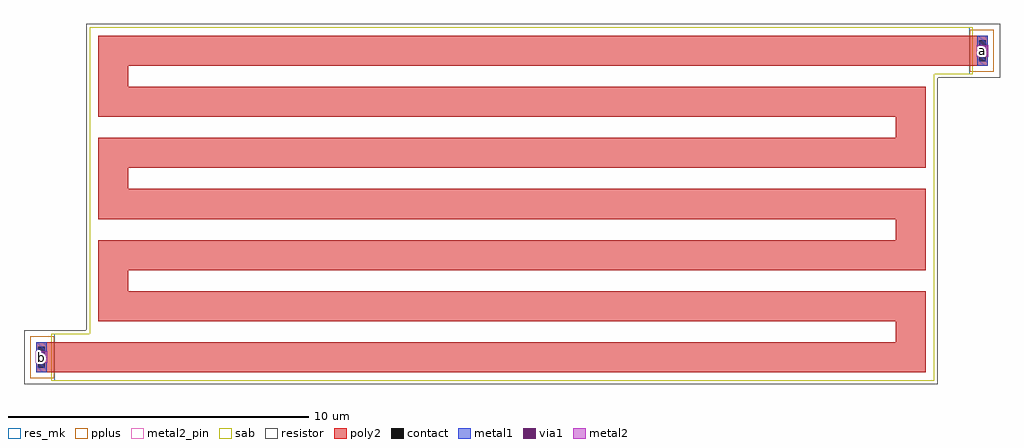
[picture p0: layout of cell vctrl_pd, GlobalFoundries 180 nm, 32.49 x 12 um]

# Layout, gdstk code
import gdstk
lib = gdstk.Library(unit=1e-6, precision=1e-09)
def R(c, l, rs):  # rectangles x0, y0, x1, y1
    for r in rs: c.add(gdstk.rectangle(r[:2], r[2:], *l))
def A(c, l, x, y, w, h, nx, ny, dx, dy):  # array of equal rectangles
    R(c, l, [(x+i*dx, y+j*dy, x+i*dx+w, y+j*dy+h) for i in range(nx) for j in range(ny)])
poly2 = (30, 0)
pplus = (31, 0)
contact = (33, 0)
metal1 = (34, 0)
via1 = (35, 0)
metal2 = (36, 0)
metal2_pin = (36, 10)
sab = (49, 0)
resistor = (62, 0)
res_mk = (110, 5)

vctrl_pd = lib.new_cell('vctrl_pd')
A(vctrl_pd, poly2, 29.015, 1.6, 1, 0.7, 1, 3, 0, 3.4)
A(vctrl_pd, poly2, 2.475, 2.3, 27.54, 1, 1, 5, 0, 1.7)
A(vctrl_pd, poly2, 2.475, 3.3, 1, 0.7, 1, 3, 0, 3.4)
R(vctrl_pd, poly2, [(0.4,0.6,30.015,1.6), (2.475,10.8,32.09,11.8)])
R(vctrl_pd, pplus, [(0.2,0.4,1.01,1.8), (31.48,10.6,32.29,12)])
R(vctrl_pd, contact, [(0.47,0.755,0.69,0.975), (0.47,1.225,0.69,1.445), (31.8,10.955,32.02,11.175), (31.8,11.425,32.02,11.645)])
R(vctrl_pd, metal1, [(0.4,0.6,0.76,0.91), (0.39,0.91,0.77,1.29), (0.4,1.29,0.76,1.6), (31.73,10.8,32.09,11.11), (31.72,11.11,32.1,11.49), (31.73,11.49,32.09,11.8)])
R(vctrl_pd, via1, [(0.45,0.97,0.71,1.23), (31.78,11.17,32.04,11.43)])
R(vctrl_pd, metal2, [(0.39,0.91,0.77,1.29), (31.72,11.11,32.1,11.49)])
R(vctrl_pd, metal2_pin, [(0.53,1.05,0.63,1.15), (31.86,11.25,31.96,11.35)])
A(vctrl_pd, sab, 28.735, 1.88, 1.56, 0.14, 1, 3, 0, 3.4)
A(vctrl_pd, sab, 2.195, 2.02, 28.1, 1.56, 1, 5, 0, 1.7)
A(vctrl_pd, sab, 2.195, 3.58, 1.56, 0.14, 1, 3, 0, 3.4)
R(vctrl_pd, sab, [(0.91,0.32,30.295,1.88), (1.01,0.32,30.295,1.88), (2.195,1.88,30.295,10.52), (2.195,10.52,31.58,12.08), (2.195,10.52,31.48,12.08)])
R(vctrl_pd, resistor, [(0,0.2,30.415,2), (2.075,2,30.415,10.4), (2.075,10.4,32.49,12.2)])
A(vctrl_pd, res_mk, 29.015, 1.6, 1, 0.7, 1, 3, 0, 3.4)
A(vctrl_pd, res_mk, 2.475, 2.3, 27.54, 1, 1, 5, 0, 1.7)
A(vctrl_pd, res_mk, 2.475, 3.3, 1, 0.7, 1, 3, 0, 3.4)
R(vctrl_pd, res_mk, [(1.01,0.32,30.295,1.88), (1.01,0.6,30.015,1.6), (2.195,1.88,30.295,10.52), (2.195,10.52,31.48,12.08), (2.475,10.8,31.48,11.8)])
vctrl_pd.add(gdstk.Label('b', (0.58,1.1), layer=36, texttype=10))
vctrl_pd.add(gdstk.Label('a', (31.91,11.3), layer=36, texttype=10))

lib.write_gds('vctrl_pd.gds')
